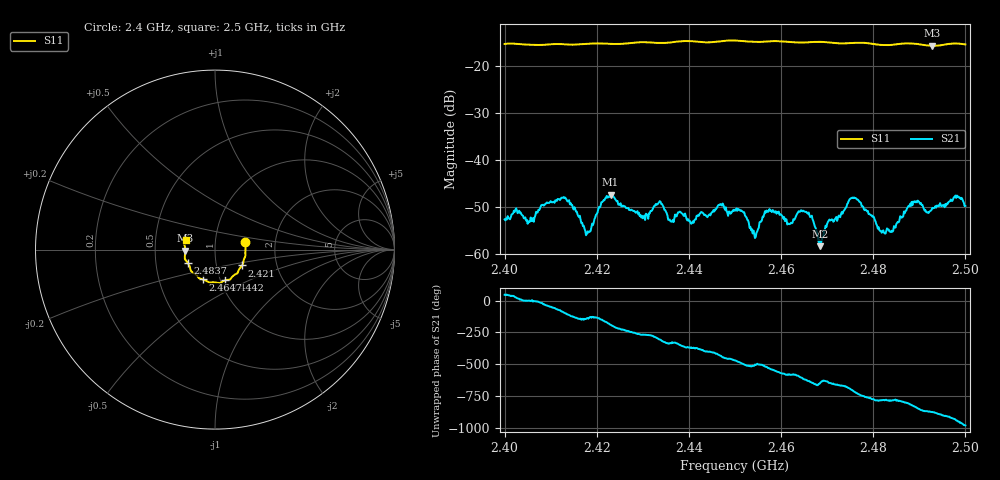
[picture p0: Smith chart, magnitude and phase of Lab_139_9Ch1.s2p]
# Hz S RI R 50
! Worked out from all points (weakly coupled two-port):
!   601 points, 2.4 GHz to 2.5 GHz, reference 50 ohm
!   highest |S21| = -47.33 dB at 2.423 GHz (marker M1); lowest = -58.3 dB at 2.4685 GHz (marker M2)
!   lowest |S11| = -15.6 dB at 2.4928 GHz (marker M3), VSWR 1.40, Z = 35.8 - j0.383 ohm
!   |S11| at or under -10 dB: start of sweep to end of sweep
!   S12 and S22 are empty: the file has one direction only
!   S11 on the Smith chart (normalised r, x): 2.4 GHz: 1.40, +0.12; 2.421 GHz: 1.33, -0.24; 2.4442 GHz: 1.05, -0.37; 2.4647 GHz: 0.83, -0.29; 2.4837 GHz: 0.73, -0.11; 2.5 GHz: 0.72, +0.08
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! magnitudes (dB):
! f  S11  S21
! 2.4 GHz  -15.2  -52.6
! 2.4128 GHz  -15.3  -47.9
! 2.4167 GHz  -15.3  -53.4
! 2.4182 GHz  -15.2  -55.4
! 2.421 GHz  -15.1  -49.0
! 2.423 GHz  -15.2  -47.3
! 2.43 GHz  -14.8  -52.4
! 2.4333 GHz  -15.0  -49.2
! 2.4362 GHz  -14.9  -53.1
! 2.4442 GHz  -14.9  -51.9
! 2.45 GHz  -14.5  -50.6
! 2.4543 GHz  -14.8  -56.6
! 2.457 GHz  -14.7  -50.9
! 2.4647 GHz  -14.9  -50.9
! 2.4667 GHz  -14.8  -51.9
! 2.4685 GHz  -14.8  -58.3
! 2.4755 GHz  -15.0  -48.0
! 2.4833 GHz  -15.5  -54.8
! 2.4837 GHz  -15.4  -55.3
! 2.4888 GHz  -15.2  -49.0
! 2.4928 GHz  -15.6  -50.2
! 2.5 GHz  -15.3  -49.8
